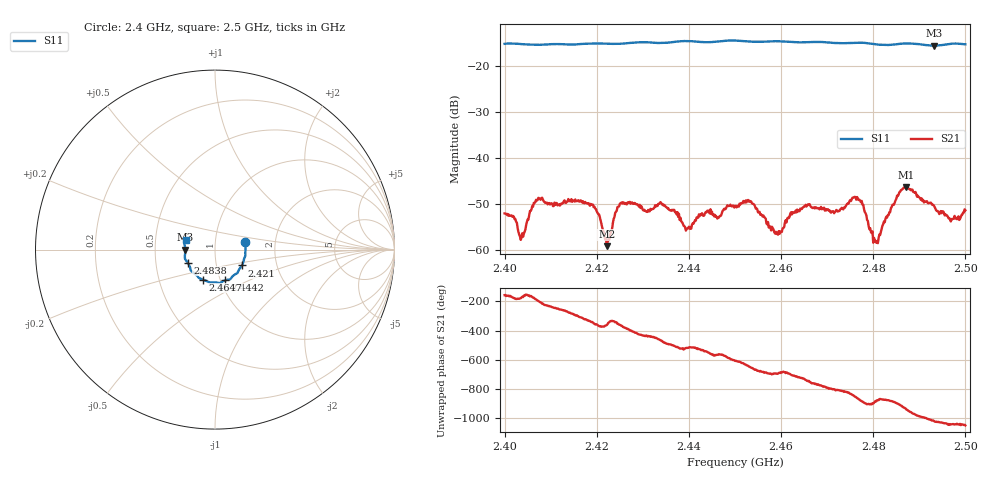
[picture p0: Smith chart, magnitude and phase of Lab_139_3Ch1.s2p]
# Hz S RI R 50
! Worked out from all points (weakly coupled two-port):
!   601 points, 2.4 GHz to 2.5 GHz, reference 50 ohm
!   highest |S21| = -46.25 dB at 2.4872 GHz (marker M1); lowest = -59.1 dB at 2.4222 GHz (marker M2)
!   lowest |S11| = -15.6 dB at 2.4932 GHz (marker M3), VSWR 1.40, Z = 35.8 - j0.0803 ohm
!   |S11| at or under -10 dB: start of sweep to end of sweep
!   S12 and S22 are empty: the file has one direction only
!   S11 on the Smith chart (normalised r, x): 2.4 GHz: 1.40, +0.12; 2.421 GHz: 1.33, -0.24; 2.4442 GHz: 1.05, -0.37; 2.4647 GHz: 0.83, -0.29; 2.4838 GHz: 0.73, -0.11; 2.5 GHz: 0.72, +0.08
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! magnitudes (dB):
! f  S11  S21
! 2.4 GHz  -15.2  -52.0
! 2.4037 GHz  -15.3  -57.3
! 2.4072 GHz  -15.4  -49.1
! 2.4167 GHz  -15.3  -49.3
! 2.421 GHz  -15.2  -54.2
! 2.4222 GHz  -15.2  -59.1
! 2.4252 GHz  -15.2  -49.8
! 2.4333 GHz  -15.0  -50.0
! 2.4397 GHz  -14.6  -55.3
! 2.4442 GHz  -14.9  -51.4
! 2.45 GHz  -14.5  -50.5
! 2.4533 GHz  -14.7  -49.5
! 2.4592 GHz  -14.7  -56.2
! 2.4647 GHz  -14.9  -50.7
! 2.4667 GHz  -14.8  -50.7
! 2.4765 GHz  -15.0  -48.5
! 2.4805 GHz  -15.3  -57.9
! 2.4833 GHz  -15.5  -52.4
! 2.4838 GHz  -15.4  -50.9
! 2.4872 GHz  -15.1  -46.3
! 2.4932 GHz  -15.6  -50.3
! 2.5 GHz  -15.3  -51.3
